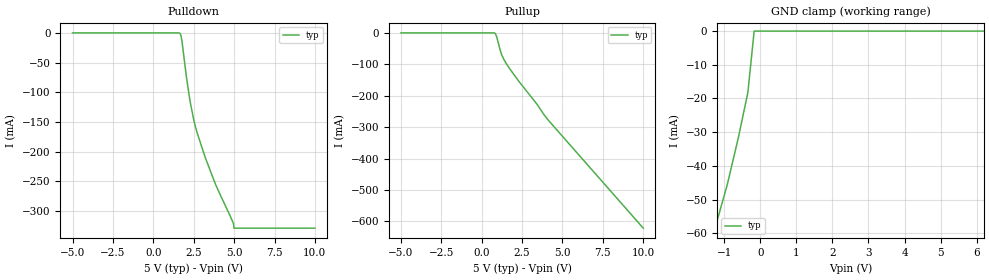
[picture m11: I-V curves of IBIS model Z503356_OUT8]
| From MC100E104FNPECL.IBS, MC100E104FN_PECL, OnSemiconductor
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| (C) COPYRIGHT 1993-2000
| MENTOR GRAPHICS CORPORATION
| ICX STANDARD LIBRARY, ICX PROJECT MODELING,
| ICX CUSTOM MODELING, ICX VENDOR MODEL
| ALL RIGHTS RESERVED.
| THE FOLLOWING ARE TRADEMARKS OR SERVICE MARKS OF
| MENTOR GRAPHICS CORPORATION:ICX (R), ICX STANDARD
| LIBRARY(R), ICX PROJECT MODELING(R), ICX CUSTOM
| MODELING(R), qualityIBIS(TM), MODELVIEWER(TM),
| AND MODELEDITOR(TM)
| ALL COPIES OF SOFTWARE, INCLUDING BUT NOT LIMITED TO
| ANY MODIFICATIONS, ENHANCEMENTS OR DERIVATIVE WORKS,
| MUST CONTAIN ALL MENTOR GRAPHICS CORPORATION'S
| NOTICES AND LEGENDS, INCLUDING THOSE EMBEDDED IN
| SOFTWARE AND THOSE AFFIXED TO SOFTWARE MEDIUM
| AND CONTAINER, AS RECEIVED FROM MENTOR GRAPHICS
| CORPORATION.
| Model Application Version 1.89 2/18/99.
[Model] Z503356_OUT8
Model_type Output_ECL
Vref=3.000V
Rref=50.00ohms
Cref=0.000F
Vmeas=3.677V
C_comp 8.000pF NA NA
| variable typ   min   max
[Voltage Range] 5.000V NA NA
[POWER Clamp Reference] 5.000V NA NA
[Pullup Reference] 5.000V NA NA
[Pulldown Reference] 5.000V NA NA
[GND Clamp Reference] 0.000V NA NA
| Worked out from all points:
|   GND clamp passes 1 mA (typ) near -0.18 V on its own axis
[GND Clamp]
-5V       -200.7mA   NA         NA
-916mV    -45.4mA    NA         NA
-612mV    -31.6mA    NA         NA
-348mV    -18.2mA    NA         NA
-174mV    0A         NA         NA
10V       0A         NA         NA
[Pulldown]
-5V       0A         NA         NA
1.633V    -500uA     NA         NA
1.714V    -5.2mA     NA         NA
1.775V    -14.3mA    NA         NA
2.039V    -72.3mA    NA         NA
2.262V    -113.6mA   NA         NA
2.526V    -149.7mA   NA         NA
2.709V    -168.1mA   NA         NA
3.784V    -250.6mA   NA         NA
4.961V    -321.2mA   NA         NA
4.992V    -328.8mA   NA         NA
10V       -328.8mA   NA         NA
[Pullup]
-5V       0A         NA         NA
720mV     0A         NA         NA
842mV     -2.1mA     NA         NA
923mV     -11.5mA    NA         NA
1.146V    -55.3mA    NA         NA
1.248V    -71mA      NA         NA
1.39V     -86.4mA    NA         NA
1.735V    -114.3mA   NA         NA
2.323V    -155.8mA   NA         NA
3.419V    -226.6mA   NA         NA
3.886V    -262.5mA   NA         NA
10V       -621.3mA   NA         NA
[POWER Clamp]
-5V       0A         NA         NA
10V       0A         NA         NA
[Ramp]
| variable typ min max
dV/dt_r 493.9m/348.8p NA NA
dV/dt_f 493.9m/331.1p NA NA
R_load = 500.0Ohms
